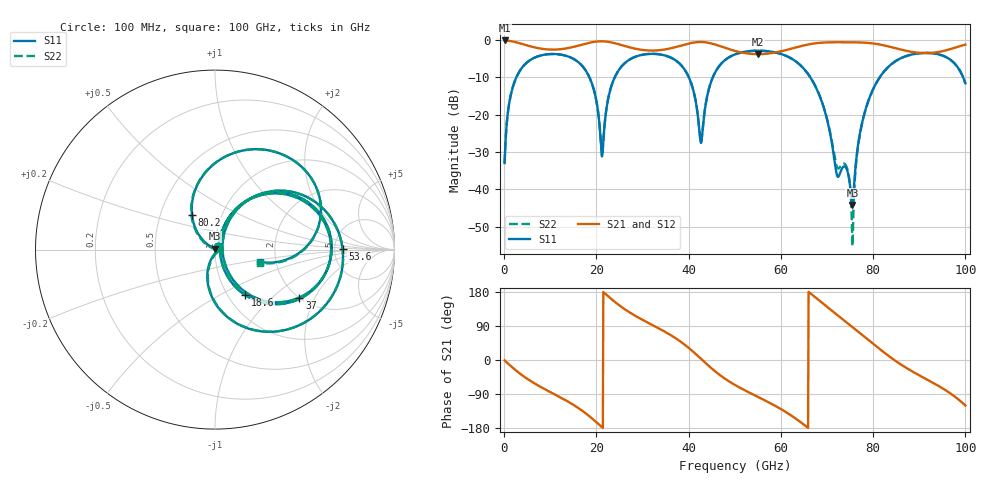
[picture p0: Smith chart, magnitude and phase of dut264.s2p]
! Touchstone file exported from HFSS 2026.1.0
!  File:  C:/ffzhzh/LocalFiles/Ansys_Project_Files/temp_train_TSV_RDL_264_1783673921_29156.aedt
!  Generated:  05:05:42 PM Jul 10, 2026
!  Design:  TSV_RDL
!  Project:  temp_train_TSV_RDL_264_1783673921_29156
! Variables:
!  h_bsmrdl = 3.8um
!  h_ox = 20um
!  h_rdl = 5um
!  h_sub = 57.48um
!  h_tmrdl = 2.98um
!  h_tsv = 57.48um
!  h_via = 3um
!  l_bsmrdl = 562.24um
!  l_sub = 2904.62um
!  l_tmrdl = 182.86um
!  m_sub = 200um
!  pitch = 56.12um
!  r_tsv = 11.37um
!  s_tmrdl = 10um
!  w_bsmrdl = 14.22um
!  w_sub = 500um
!  w_tmrdl = 14.6um
!  x_tsv_center1 = 190.16um
!  x_tsv_center2 = 766.62um
!  x_tsv_center3 = 964.08um
!  x_tsv_center4 = 1540.54um
!  x_tsv_center5 = 1738um
!  x_tsv_center6 = 2314.46um
# GHz S MA R 50.000000
! Terminal data exported
! Port[1] = TM_RDL1_1_T1
! Port[2] = TM_RDL5_1_T1
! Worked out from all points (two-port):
!   1000 points, 100 MHz to 100 GHz, reference 50 ohm
!   highest |S21| = -0.16 dB at 100 MHz (marker M1); lowest = -3.8 dB at 55.1 GHz (marker M2)
!   |S21| within 3 dB of the highest: start of sweep to 50.67 GHz; 59.67 GHz to 88.12 GHz (28.45 GHz wide, 38.5 % of centre) (the widest 2 of 3)
!   lowest |S11| = -44.1 dB at 75.5 GHz (marker M3), VSWR 1.01, Z = 50.1 + j0.608 ohm
!   |S11| at or under -10 dB: 18.48 GHz to 23.98 GHz (5.504 GHz wide, 25.9 % of centre); 40.04 GHz to 45.25 GHz (5.211 GHz wide, 12.2 % of centre); 66.37 GHz to 81.43 GHz (15.07 GHz wide, 20.4 % of centre) (the widest 3 of 5)
!   |S22| runs from -55.2 to -2.9 dB; largest |S21 - S12| = 4e-13
!   S11 on the Smith chart (normalised r, x): 100 MHz: 1.04, +0.03; 18.6 GHz: 1.20, -0.67; 37 GHz: 2.01, -1.52; 53.6 GHz: 5.91, +0.08; 80.2 GHz: 0.72, +0.30; 100 GHz: 1.66, -0.24
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0.1  0.02251 35.9  0.982 -1.2  0.982 -1.2  0.02251 35.9
! Gamma 0 0 0 0
! Port Impedance 50 0 50 0
1.5  0.1903 67.0  0.9606 -16.6  0.9606 -16.6  0.1903 67.0
4.3  0.4561 43.4  0.8672 -43.7  0.8672 -43.7  0.4561 43.4
10.6  0.6471 0.4  0.7407 -88.4  0.7407 -88.4  0.6471 0.4
16.8  0.4571 -41.7  0.8602 -132.8  0.8602 -132.8  0.4571 -41.7
18.6  0.3045 -56.4  0.9179 -149.6  0.9179 -149.6  0.3045 -56.4
21.2  0.02759 -5.1  0.9573 -177.2  0.9573 -177.2  0.02775 -5.1
24.8  0.3899 51.4  0.8752 145.8  0.8752 145.8  0.3899 51.4
33.4  0.6436 -6.0  0.7247 84.2  0.7247 84.2  0.6435 -6.1
37  0.541 -29.6  0.7955 58.9  0.7955 58.9  0.541 -29.6
42.7  0.04174 6.6  0.9368 2.9  0.9368 2.9  0.04221 6.6
45.3  0.3219 57.0  0.8828 -25.4  0.8828 -25.4  0.322 56.9
50.1  0.6411 21.4  0.7098 -66.2  0.7098 -66.2  0.6412 21.3
53.6  0.7107 0.3  0.649 -88.8  0.649 -88.8  0.7108 0.2
55.1  0.7163 -8.3  0.6435 -97.9  0.6435 -97.9  0.7164 -8.3
66.7  0.293 -90.4  0.885 173.1  0.885 173.1  0.2934 -89.9
75.5  0.006209 77.7  0.9275 87.3  0.9275 87.3  0.001739 46.4
77.2  0.05896 144.4  0.9232 70.7  0.9232 70.7  0.05768 148.8
80.2  0.2327 123.4  0.8919 40.9  0.8919 40.9  0.2321 124.4
83.4  0.4414 95.8  0.8144 10.3  0.8144 10.3  0.441 96.2
93.5  0.6532 27.3  0.6786 -63.7  0.6786 -63.7  0.653 27.1
100  0.2624 -15.2  0.8639 -120.1  0.8639 -120.1  0.2611 -16.2
